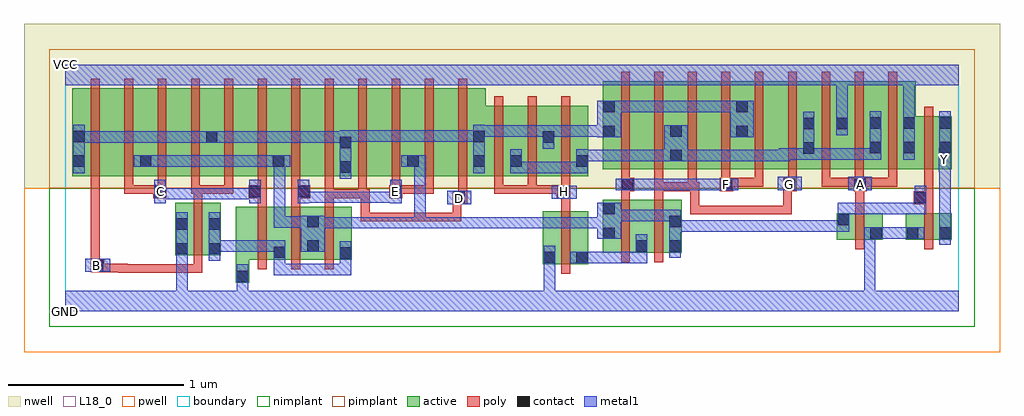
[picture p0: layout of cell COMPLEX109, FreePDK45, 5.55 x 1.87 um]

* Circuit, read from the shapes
.subckt COMPLEX109 A B C D E F G GND H VCC Y
M1 n1 B GND VSUBS nfet w=0.3u l=0.05u
M2 n1 C GND VSUBS nfet w=0.3u l=0.05u
M3 n2 E n1 VSUBS nfet w=0.3u l=0.05u
M4 n1 D n2 VSUBS nfet w=0.3u l=0.05u
M5 n3 H GND VSUBS nfet w=0.3u l=0.05u
M6 n3 F n2 VSUBS nfet w=0.3u l=0.05u
M7 n2 G n3 VSUBS nfet w=0.3u l=0.05u
M8 GND A n2 VSUBS nfet w=0.15u l=0.05u
M9 Y n2 GND VSUBS nfet w=0.15u l=0.05u
M10 n4 B n5 n6 pfet w=0.5u l=0.05u
M11 n2 C n4 n6 pfet w=0.5u l=0.05u
M12 n7 C n2 n6 pfet w=0.5u l=0.05u
M13 n5 B n7 n6 pfet w=0.5u l=0.05u
M14 n8 B n5 n6 pfet w=0.5u l=0.05u
M15 n2 C n8 n6 pfet w=0.5u l=0.05u
M16 n9 E n2 n6 pfet w=0.5u l=0.05u
M17 n5 D n9 n6 pfet w=0.5u l=0.05u
M18 n10 D n5 n6 pfet w=0.5u l=0.05u
M19 n2 E n10 n6 pfet w=0.5u l=0.05u
M20 n11 E n2 n6 pfet w=0.5u l=0.05u
M21 n5 D n11 n6 pfet w=0.5u l=0.05u
M22 n12 H n5 n6 pfet w=0.4u l=0.05u m=3
M23 n13 F n5 n6 pfet w=0.5u l=0.05u
M24 n12 G n13 n6 pfet w=0.5u l=0.05u
M25 n14 G n12 n6 pfet w=0.5u l=0.05u
M26 n5 F n14 n6 pfet w=0.5u l=0.05u
M27 n15 F n5 n6 pfet w=0.5u l=0.05u
M28 n12 G n15 n6 pfet w=0.5u l=0.05u
M29 VCC A n12 n6 pfet w=0.5u l=0.05u m=3
M30 Y n2 VCC n6 pfet w=0.3u l=0.05u
.ends

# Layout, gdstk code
import gdstk
lib = gdstk.Library(unit=1e-6, precision=1e-09)
def R(c, l, rs):  # rectangles x0, y0, x1, y1
    for r in rs: c.add(gdstk.rectangle(r[:2], r[2:], *l))
def A(c, l, x, y, w, h, nx, ny, dx, dy):  # array of equal rectangles
    R(c, l, [(x+i*dx, y+j*dy, x+i*dx+w, y+j*dy+h) for i in range(nx) for j in range(ny)])
active = (1, 0)
pwell = (2, 0)
nwell = (3, 0)
nimplant = (4, 0)
pimplant = (5, 0)
poly = (9, 0)
contact = (10, 0)
metal1 = (11, 0)
L18_0 = (18, 0)
boundary = (235, 0)

complex109 = lib.new_cell('COMPLEX109')
A(complex109, active, 0.645, 0.767, 0.225, 0.5, 3, 1, 0.38, 0)
A(complex109, active, 0.795, 0.767, 0.23, 0.5, 3, 1, 0.38, 0)
A(complex109, active, 3.81, 0.807, 0.075, 0.393, 3, 1, 0.38, 0)
A(complex109, active, 4.19, 0.807, 0.265, 0.5, 3, 1, 0.19, 0)
R(complex109, active, [(0.97,0.16,1.045,0.592), (2.715,0.267,2.79,0.567), (2.715,0.267,2.975,0.567), (2.9,0.267,2.975,0.567), (0.97,0.292,1.255,0.592), (1.18,0.292,1.445,0.592), (1.18,0.292,1.255,0.497), (1.37,0.292,1.63,0.592), (1.555,0.292,1.63,0.592), (0.625,0.317,0.7,0.617), (0.625,0.317,0.885,0.617), (0.81,0.317,0.885,0.617), (1.37,0.33,1.445,0.547), (3.055,0.332,3.13,0.632), (3.055,0.332,3.315,0.632), (3.24,0.332,3.505,0.632), (3.24,0.332,3.315,0.497), (3.43,0.332,3.505,0.632), (4.387,0.407,4.462,0.557), (4.387,0.407,4.647,0.557), (4.572,0.407,4.647,0.557), (4.78,0.407,4.855,0.557), (4.78,0.407,5.04,0.557), (4.965,0.407,5.04,0.557), (0.04,0.767,0.265,1.267), (0.04,0.767,0.145,1.2), (0.265,0.767,0.495,1.267), (0.42,0.767,0.645,1.267), (0.42,0.767,0.495,1.07), (0.795,0.767,0.87,1.2), (1.175,0.767,1.25,1.07), (1.555,0.767,1.63,1.2), (1.785,0.767,2.015,1.267), (1.94,0.767,2.165,1.267), (1.94,0.767,2.015,1.07), (2.165,0.767,2.39,1.267), (2.315,0.767,2.6,1.167), (2.525,0.767,2.6,1.07), (2.525,0.767,2.785,1.167), (2.71,0.767,2.975,1.167), (2.71,0.767,2.785,1.155), (2.9,0.767,2.975,1.07), (3.055,0.807,3.28,1.307), (3.055,0.807,3.16,1.2), (3.28,0.807,3.51,1.307), (3.435,0.807,3.66,1.307), (3.435,0.807,3.51,1.07), (3.66,0.807,3.885,1.307), (3.81,0.807,4.04,1.307), (4.04,0.807,4.265,1.307), (4.38,0.807,4.455,1.307), (4.76,0.807,4.835,1.107), (4.76,0.807,5.04,1.107), (4.965,0.807,5.04,1.107), (2.315,0.815,2.39,1.2)])
R(complex109, pwell, [(-0.235,-0.235,5.315,0.7)])
R(complex109, nwell, [(-0.235,0.7,5.315,1.635)])
R(complex109, nimplant, [(-0.09,-0.09,5.17,0.7)])
R(complex109, pimplant, [(-0.09,0.7,5.17,1.49)])
A(complex109, poly, 1.095, 0.237, 0.05, 0.41, 3, 1, 0.19, 0)
A(complex109, poly, 1.095, 0.597, 0.05, 0.095, 3, 1, 0.19, 0)
A(complex109, poly, 0.335, 0.667, 0.05, 0.095, 6, 1, 0.19, 0)
A(complex109, poly, 2.44, 0.667, 0.05, 0.095, 3, 1, 0.19, 0)
A(complex109, poly, 3.73, 0.707, 0.05, 0.095, 6, 1, 0.19, 0)
A(complex109, poly, 0.145, 0.712, 0.05, 0.61, 12, 1, 0.19, 0)
A(complex109, poly, 2.44, 0.712, 0.05, 0.51, 3, 1, 0.19, 0)
A(complex109, poly, 3.16, 0.752, 0.05, 0.61, 9, 1, 0.19, 0)
R(complex109, poly, [(2.82,0.212,2.87,0.622), (0.302,0.217,0.632,0.267), (0.302,0.217,0.352,0.27), (0.582,0.217,0.632,0.267), (0.582,0.217,0.78,0.267), (0.73,0.217,0.78,0.312), (0.73,0.217,0.78,0.267), (0.73,0.217,0.78,0.267), (0.73,0.217,0.78,0.267), (0.145,0.22,0.22,0.295), (0.17,0.22,0.22,0.27), (0.17,0.22,0.22,0.27), (0.17,0.22,0.22,0.27), (0.17,0.22,0.22,0.27), (0.17,0.22,0.22,0.27), (0.17,0.22,0.22,0.27), (0.17,0.22,0.22,0.27), (0.17,0.22,0.22,0.27), (0.17,0.22,0.22,0.27), (0.17,0.22,0.22,0.27), (0.17,0.22,0.352,0.27), (0.302,0.22,0.352,0.27), (0.302,0.22,0.352,0.27), (0.145,0.245,0.195,0.762), (0.73,0.262,0.78,0.672), (3.16,0.277,3.21,0.687), (3.35,0.277,3.4,0.687), (4.492,0.352,4.542,0.612), (4.885,0.352,4.935,0.612), (1.68,0.51,1.73,0.56), (1.68,0.51,1.73,0.56), (1.68,0.51,1.73,0.56), (1.68,0.51,1.73,0.692), (1.68,0.51,1.917,0.56), (1.867,0.51,1.917,0.56), (1.867,0.51,2.05,0.56), (2,0.51,2.05,0.56), (2,0.51,2.05,0.56), (2,0.51,2.05,0.56), (2,0.51,2.252,0.56), (2.202,0.51,2.252,0.56), (2.202,0.51,2.252,0.56), (2.202,0.51,2.252,0.56), (2.202,0.51,2.252,0.66), (3.555,0.55,3.605,0.6), (3.555,0.55,3.605,0.6), (3.555,0.55,3.605,0.6), (3.555,0.55,3.605,0.6), (3.555,0.55,3.605,0.6), (3.555,0.55,3.605,0.732), (3.555,0.55,3.737,0.6), (3.687,0.55,3.737,0.6), (3.687,0.55,3.737,0.6), (3.687,0.55,3.737,0.6), (3.687,0.55,4,0.6), (3.95,0.55,4,0.6), (3.95,0.55,4.132,0.6), (4.082,0.55,4.132,0.6), (4.082,0.55,4.132,0.6), (4.082,0.55,4.132,0.6), (4.082,0.55,4.132,0.732), (4.492,0.562,4.542,0.732), (4.885,0.562,4.935,0.657), (2.82,0.572,2.87,0.692), (4.825,0.607,4.935,0.682), (2.202,0.61,2.252,0.66), (2.202,0.61,2.252,0.66), (2.202,0.61,2.285,0.685), (0.73,0.622,0.78,0.717), (4.885,0.632,4.935,0.802), (2.235,0.635,2.285,0.762), (3.16,0.637,3.21,0.732), (3.35,0.637,3.4,0.732), (0.5,0.642,0.575,0.717), (1.042,0.642,1.145,0.717), (1.285,0.642,1.392,0.717), (1.475,0.642,1.525,0.692), (1.475,0.642,1.525,0.692), (1.475,0.642,1.525,0.692), (1.475,0.642,1.525,0.762), (1.475,0.642,1.715,0.692), (1.665,0.642,1.715,0.692), (1.665,0.642,1.715,0.692), (1.665,0.642,1.715,0.762), (1.665,0.642,1.73,0.692), (1.842,0.642,1.917,0.717), (2.795,0.642,2.87,0.717), (0.335,0.667,0.385,0.717), (0.335,0.667,0.385,0.717), (0.335,0.667,0.385,0.717), (0.335,0.667,0.55,0.717), (0.715,0.667,0.78,0.717), (0.73,0.667,0.955,0.717), (0.905,0.667,0.955,0.717), (0.905,0.667,0.955,0.717), (0.905,0.667,0.955,0.717), (1.855,0.667,1.905,0.762), (1.867,0.667,1.917,0.717), (1.867,0.667,1.917,0.717), (1.867,0.667,2.095,0.717), (2.045,0.667,2.095,0.762), (2.045,0.667,2.095,0.717), (2.44,0.667,2.49,0.717), (2.44,0.667,2.49,0.717), (2.44,0.667,2.49,0.717), (2.44,0.667,2.68,0.717), (2.63,0.667,2.68,0.717), (2.63,0.667,2.68,0.717), (2.63,0.667,2.68,0.717), (2.63,0.667,2.845,0.717), (3.16,0.682,3.235,0.757), (3.35,0.682,3.4,0.732), (3.35,0.682,3.4,0.732), (3.35,0.682,3.4,0.732), (3.35,0.682,3.4,0.802), (3.35,0.682,3.59,0.732), (3.54,0.682,3.59,0.802), (3.54,0.682,3.605,0.732), (3.722,0.682,3.797,0.757), (4.082,0.682,4.132,0.732), (4.082,0.682,4.132,0.732), (4.082,0.682,4.16,0.757), (4.482,0.682,4.557,0.757), (3.16,0.707,3.21,0.802), (3.747,0.707,3.797,0.757), (3.747,0.707,3.797,0.757), (3.747,0.707,3.97,0.757), (3.92,0.707,3.97,0.757), (4.3,0.707,4.35,0.757), (4.3,0.707,4.532,0.757), (4.482,0.707,4.532,0.757), (4.482,0.707,4.532,0.757), (4.507,0.707,4.73,0.757), (4.68,0.707,4.73,0.757), (4.68,0.707,4.73,0.757), (4.68,0.707,4.73,0.757), (4.885,0.752,4.935,1.162)])
R(complex109, contact, [(0.975,0.165,1.04,0.23), (0.15,0.225,0.215,0.29), (2.72,0.272,2.785,0.337), (2.905,0.272,2.97,0.337), (1.56,0.297,1.625,0.362), (1.185,0.302,1.25,0.367), (0.63,0.322,0.695,0.387), (0.815,0.322,0.88,0.387), (1.375,0.337,1.44,0.402), (3.245,0.337,3.31,0.402), (3.435,0.337,3.5,0.402), (3.06,0.41,3.125,0.475), (4.577,0.412,4.642,0.477), (4.785,0.412,4.85,0.477), (4.97,0.412,5.035,0.477), (0.63,0.462,0.695,0.527), (0.815,0.462,0.88,0.527), (1.375,0.477,1.44,0.542), (3.435,0.477,3.5,0.542), (4.392,0.487,4.457,0.552), (3.06,0.55,3.125,0.615), (4.83,0.612,4.895,0.677), (2.207,0.615,2.272,0.68), (0.505,0.647,0.57,0.712), (1.047,0.647,1.112,0.712), (1.322,0.647,1.387,0.712), (1.847,0.647,1.912,0.712), (2.8,0.647,2.865,0.712), (3.165,0.687,3.23,0.752), (3.727,0.687,3.792,0.752), (4.087,0.687,4.152,0.752), (4.487,0.687,4.552,0.752), (1.56,0.787,1.625,0.852), (0.045,0.82,0.11,0.885), (0.425,0.82,0.49,0.885), (1.18,0.82,1.245,0.885), (1.945,0.82,2.01,0.885), (2.32,0.82,2.385,0.885), (2.53,0.82,2.595,0.885), (2.905,0.82,2.97,0.885), (3.44,0.852,3.505,0.917), (4.195,0.895,4.26,0.96), (4.575,0.897,4.64,0.962), (4.765,0.897,4.83,0.962), (4.97,0.897,5.035,0.962), (1.56,0.927,1.625,0.992), (0.8,0.957,0.865,1.022), (2.715,0.957,2.78,1.022), (0.045,0.96,0.11,1.025), (2.32,0.96,2.385,1.025), (3.06,0.99,3.125,1.055), (3.815,0.99,3.88,1.055), (3.44,0.992,3.505,1.057), (4.195,1.035,4.26,1.1), (4.385,1.035,4.45,1.1), (4.575,1.037,4.64,1.102), (4.765,1.037,4.83,1.102), (4.97,1.037,5.035,1.102), (3.06,1.13,3.125,1.195), (3.815,1.13,3.88,1.195)])
R(complex109, metal1, [(0,0,5.08,0.115), (0.63,0.05,0.695,0.115), (0.63,0.05,0.695,0.115), (0.63,0.05,0.695,0.115), (0.63,0.05,0.695,0.115), (0.63,0.05,0.695,0.352), (0.975,0.05,1.04,0.115), (0.975,0.05,1.04,0.115), (0.975,0.05,1.04,0.195), (2.72,0.05,2.785,0.115), (2.72,0.05,2.785,0.115), (2.72,0.05,2.785,0.115), (2.72,0.05,2.785,0.115), (2.72,0.05,2.785,0.302), (4.542,0.05,4.607,0.115), (4.542,0.05,4.607,0.115), (4.542,0.05,4.607,0.477), (0.975,0.13,1.04,0.195), (0.975,0.13,1.04,0.195), (0.975,0.13,1.04,0.265), (1.185,0.205,1.487,0.27), (1.185,0.205,1.25,0.332), (1.422,0.205,1.487,0.27), (1.422,0.205,1.625,0.27), (1.56,0.205,1.625,0.327), (0.112,0.225,0.255,0.297), (2.72,0.237,2.785,0.372), (1.56,0.262,1.625,0.327), (1.56,0.262,1.625,0.397), (1.185,0.267,1.25,0.332), (1.185,0.267,1.25,0.402), (2.87,0.272,3.005,0.337), (2.94,0.272,3.005,0.337), (2.94,0.272,3.005,0.337), (2.94,0.272,3.142,0.337), (3.077,0.272,3.142,0.337), (3.077,0.272,3.31,0.337), (3.245,0.272,3.31,0.437), (0.63,0.287,0.695,0.562), (0.815,0.287,0.88,0.562), (3.435,0.302,3.5,0.577), (0.815,0.337,0.88,0.402), (0.815,0.337,0.88,0.402), (0.815,0.337,1.04,0.402), (0.975,0.337,1.04,0.402), (0.975,0.337,1.112,0.402), (1.047,0.337,1.112,0.402), (1.047,0.337,1.25,0.402), (1.34,0.337,1.475,0.542), (4.97,0.377,5.035,0.512), (3.025,0.41,3.16,0.615), (4.542,0.412,4.607,0.477), (4.542,0.412,4.607,0.477), (4.542,0.412,4.607,0.477), (4.542,0.412,4.607,0.477), (4.542,0.412,4.677,0.477), (4.612,0.412,4.677,0.477), (4.612,0.412,4.677,0.477), (4.612,0.412,4.815,0.477), (4.75,0.412,4.885,0.477), (4.97,0.447,5.035,0.857), (3.435,0.452,3.54,0.517), (3.475,0.452,3.54,0.517), (3.475,0.452,3.677,0.517), (3.612,0.452,3.677,0.517), (3.612,0.452,3.677,0.517), (3.612,0.452,3.677,0.517), (3.612,0.452,3.845,0.517), (3.78,0.452,3.845,0.517), (3.78,0.452,3.845,0.517), (3.78,0.452,3.845,0.517), (3.78,0.452,4.122,0.517), (4.057,0.452,4.122,0.517), (4.057,0.452,4.122,0.517), (4.057,0.452,4.122,0.517), (4.057,0.452,4.26,0.517), (4.195,0.452,4.26,0.517), (4.195,0.452,4.26,0.517), (4.195,0.452,4.26,0.517), (4.195,0.452,4.457,0.517), (4.392,0.452,4.457,0.587), (1.41,0.47,1.625,0.535), (1.56,0.47,1.625,0.535), (1.56,0.47,1.625,0.535), (1.56,0.47,1.625,0.535), (1.56,0.47,1.762,0.535), (1.697,0.47,1.762,0.535), (1.697,0.47,1.762,0.535), (1.697,0.47,1.762,0.535), (1.697,0.47,1.912,0.535), (1.847,0.47,1.912,0.535), (1.847,0.47,2.05,0.535), (1.985,0.47,2.05,0.535), (1.985,0.47,2.05,0.535), (1.985,0.47,2.05,0.535), (1.985,0.47,2.247,0.535), (1.985,0.47,2.05,0.885), (2.182,0.47,2.247,0.535), (2.182,0.47,2.247,0.535), (2.182,0.47,2.247,0.535), (2.182,0.47,2.385,0.535), (2.32,0.47,2.385,0.535), (2.32,0.47,2.385,0.535), (2.32,0.47,2.385,0.535), (2.32,0.47,2.642,0.535), (2.577,0.47,2.642,0.535), (2.577,0.47,2.642,0.535), (2.577,0.47,2.642,0.535), (2.577,0.47,2.78,0.535), (2.715,0.47,2.78,0.535), (2.715,0.47,2.78,0.535), (2.715,0.47,2.78,0.535), (2.715,0.47,2.922,0.535), (2.857,0.47,2.922,0.535), (2.857,0.47,3.09,0.535), (1.185,0.475,1.25,0.54), (1.185,0.475,1.25,0.54), (1.185,0.475,1.25,0.54), (1.185,0.475,1.25,0.885), (1.185,0.475,1.405,0.54), (1.34,0.475,1.405,0.54), (1.34,0.475,1.405,0.54), (3.095,0.512,3.16,0.577), (3.095,0.512,3.16,0.577), (3.095,0.512,3.332,0.577), (3.267,0.512,3.332,0.577), (3.267,0.512,3.402,0.577), (3.337,0.512,3.402,0.577), (3.337,0.512,3.5,0.577), (4.392,0.522,4.457,0.587), (4.392,0.522,4.457,0.615), (4.392,0.55,4.677,0.615), (4.612,0.55,4.677,0.615), (4.612,0.55,4.677,0.615), (4.612,0.55,4.677,0.615), (4.612,0.55,4.895,0.615), (4.83,0.55,4.895,0.615), (4.83,0.55,4.895,0.642), (4.83,0.577,4.895,0.642), (4.83,0.577,4.895,0.642), (4.83,0.577,4.895,0.712), (2.172,0.607,2.307,0.685), (0.505,0.612,0.572,0.747), (1.047,0.612,1.112,0.747), (1.322,0.612,1.387,0.747), (1.847,0.612,1.912,0.747), (1.322,0.615,1.387,0.68), (1.322,0.615,1.387,0.68), (1.322,0.615,1.625,0.68), (1.56,0.615,1.625,0.68), (1.56,0.615,1.625,0.68), (1.56,0.615,1.625,0.68), (1.56,0.615,1.762,0.68), (1.697,0.615,1.762,0.68), (1.697,0.615,1.762,0.68), (1.697,0.615,1.762,0.68), (1.697,0.615,1.912,0.68), (0.507,0.635,0.692,0.7), (0.627,0.635,0.692,0.7), (0.627,0.635,0.742,0.7), (0.677,0.635,0.742,0.7), (0.677,0.635,0.902,0.7), (0.837,0.635,0.902,0.7), (0.837,0.635,0.902,0.7), (0.837,0.635,0.902,0.7), (0.837,0.635,1.04,0.7), (0.975,0.635,1.04,0.7), (0.975,0.635,1.112,0.7), (2.765,0.64,2.907,0.712), (3.13,0.687,3.265,0.752), (3.2,0.687,3.332,0.752), (3.267,0.687,3.332,0.752), (3.267,0.687,3.402,0.752), (3.337,0.687,3.402,0.752), (3.337,0.687,3.54,0.752), (3.475,0.687,3.54,0.752), (3.475,0.687,3.54,0.752), (3.475,0.687,3.54,0.752), (3.475,0.687,3.677,0.752), (3.612,0.687,3.677,0.752), (3.612,0.687,3.757,0.752), (3.692,0.687,3.827,0.752), (4.052,0.687,4.187,0.765), (4.452,0.687,4.587,0.765), (1.56,0.752,1.625,1.027), (0.045,0.785,0.11,1.06), (2.32,0.785,2.385,1.06), (2.53,0.785,2.595,0.85), (2.53,0.785,2.595,0.85), (2.53,0.785,2.595,0.92), (2.53,0.785,2.78,0.85), (2.715,0.785,2.78,0.85), (2.715,0.785,2.78,0.85), (2.715,0.785,2.78,0.85), (2.715,0.785,2.97,0.85), (2.905,0.785,2.97,0.92), (4.967,0.792,5.035,0.927), (0.39,0.82,0.525,0.885), (0.46,0.82,0.525,0.885), (0.46,0.82,0.525,0.885), (0.46,0.82,0.692,0.885), (0.627,0.82,0.692,0.885), (0.627,0.82,0.742,0.885), (0.677,0.82,0.742,0.885), (0.677,0.82,0.88,0.885), (0.815,0.82,0.88,0.885), (0.815,0.82,0.88,0.885), (0.815,0.82,0.88,0.885), (0.815,0.82,1.04,0.885), (0.975,0.82,1.04,0.885), (0.975,0.82,1.04,0.885), (0.975,0.82,1.04,0.885), (0.975,0.82,1.21,0.885), (1.145,0.82,1.28,0.885), (1.91,0.82,2.05,0.885), (1.985,0.82,2.05,0.885), (1.985,0.82,2.05,0.885), (2.905,0.852,2.97,0.917), (2.905,0.852,2.97,0.917), (2.905,0.852,3.265,0.917), (3.2,0.852,3.265,0.917), (3.2,0.852,3.297,0.917), (3.232,0.852,3.297,0.917), (3.232,0.852,3.402,0.917), (3.337,0.852,3.402,0.917), (3.337,0.852,3.47,0.917), (3.405,0.852,3.54,1.057), (3.475,0.852,3.54,0.917), (3.475,0.852,3.54,0.917), (3.475,0.852,3.707,0.917), (3.642,0.852,3.707,0.917), (3.642,0.852,3.707,0.917), (3.642,0.852,3.707,0.917), (3.642,0.852,3.98,0.917), (3.915,0.852,3.98,0.917), (3.915,0.852,3.98,0.917), (3.915,0.852,3.98,0.917), (3.915,0.852,4.122,0.917), (4.057,0.852,4.122,0.917), (4.057,0.852,4.122,0.917), (4.057,0.852,4.122,0.925), (4.057,0.86,4.26,0.925), (4.195,0.86,4.26,1.135), (4.195,0.862,4.26,0.927), (4.195,0.862,4.26,0.927), (4.195,0.862,4.397,0.927), (4.332,0.862,4.397,0.927), (4.332,0.862,4.397,0.927), (4.332,0.862,4.397,0.927), (4.332,0.862,4.64,0.927), (4.575,0.862,4.64,1.137), (4.765,0.862,4.83,1.137), (4.97,0.862,5.035,0.927), (4.97,0.862,5.035,1.137), (2.715,0.922,2.78,1.057), (0.045,0.957,0.11,1.022), (0.045,0.957,0.11,1.022), (0.045,0.957,0.247,1.022), (0.182,0.957,0.247,1.022), (0.182,0.957,0.247,1.022), (0.182,0.957,0.247,1.022), (0.182,0.957,0.392,1.022), (0.327,0.957,0.392,1.022), (0.327,0.957,0.392,1.022), (0.327,0.957,0.392,1.022), (0.327,0.957,0.692,1.022), (0.627,0.957,0.692,1.022), (0.627,0.957,0.71,1.022), (0.645,0.957,0.71,1.022), (0.645,0.957,0.83,1.022), (0.765,0.957,0.9,1.022), (0.835,0.957,0.9,1.022), (0.835,0.957,0.9,1.022), (0.835,0.957,1.04,1.022), (0.975,0.957,1.04,1.022), (0.975,0.957,1.04,1.022), (0.975,0.957,1.04,1.022), (0.975,0.957,1.177,1.022), (1.112,0.957,1.177,1.022), (1.112,0.957,1.487,1.022), (1.422,0.957,1.487,1.022), (1.422,0.957,1.487,1.022), (1.422,0.957,1.487,1.022), (1.422,0.957,1.625,1.022), (1.56,0.957,1.625,1.022), (1.56,0.957,1.625,1.022), (1.56,0.962,1.762,1.027), (1.697,0.962,1.762,1.027), (1.697,0.962,1.762,1.027), (1.697,0.962,1.762,1.027), (1.697,0.962,1.9,1.027), (1.835,0.962,1.9,1.027), (1.835,0.962,1.9,1.027), (1.835,0.962,1.9,1.027), (1.835,0.962,2.05,1.027), (1.985,0.962,2.05,1.027), (1.985,0.962,2.247,1.027), (2.182,0.962,2.247,1.027), (2.182,0.962,2.247,1.027), (2.182,0.962,2.247,1.027), (2.182,0.962,2.385,1.027), (3.025,0.99,3.16,1.195), (3.78,0.99,3.915,1.195), (2.32,0.992,2.385,1.057), (2.32,0.992,2.385,1.057), (2.32,0.992,2.642,1.057), (2.577,0.992,2.642,1.057), (2.577,0.992,2.642,1.057), (2.577,0.992,2.642,1.057), (2.577,0.992,2.78,1.057), (2.715,0.992,2.78,1.057), (2.715,0.992,2.78,1.057), (2.715,0.992,2.917,1.057), (2.852,0.992,2.917,1.057), (2.852,0.992,3.09,1.057), (4.385,1,4.45,1.135), (4.385,1.07,4.45,1.35), (4.765,1.072,4.83,1.35), (3.095,1.13,3.16,1.195), (3.095,1.13,3.16,1.195), (3.095,1.13,3.332,1.195), (3.267,1.13,3.332,1.195), (3.267,1.13,3.402,1.195), (3.337,1.13,3.402,1.195), (3.337,1.13,3.54,1.195), (3.475,1.13,3.54,1.195), (3.475,1.13,3.54,1.195), (3.475,1.13,3.54,1.195), (3.475,1.13,3.677,1.195), (3.612,1.13,3.677,1.195), (3.612,1.13,3.677,1.195), (3.612,1.13,3.677,1.195), (3.612,1.13,3.845,1.195), (0,1.285,5.08,1.4)])
R(complex109, L18_0, [(0,0,5.08,0.115), (0.63,0.05,0.695,0.115), (0.63,0.05,0.695,0.115), (0.63,0.05,0.695,0.115), (0.63,0.05,0.695,0.115), (0.63,0.05,0.695,0.352), (0.975,0.05,1.04,0.115), (0.975,0.05,1.04,0.115), (0.975,0.05,1.04,0.195), (2.72,0.05,2.785,0.115), (2.72,0.05,2.785,0.115), (2.72,0.05,2.785,0.115), (2.72,0.05,2.785,0.115), (2.72,0.05,2.785,0.302), (4.542,0.05,4.607,0.115), (4.542,0.05,4.607,0.115), (4.542,0.05,4.607,0.477), (0.975,0.13,1.04,0.195), (0.975,0.13,1.04,0.195), (0.975,0.13,1.04,0.265), (0.112,0.225,0.255,0.297), (0.147,0.227,0.212,0.292), (2.72,0.237,2.785,0.372), (0.63,0.287,0.695,0.562), (4.97,0.377,5.035,0.512), (4.542,0.412,4.607,0.477), (4.542,0.412,4.607,0.477), (4.542,0.412,4.607,0.477), (4.542,0.412,4.607,0.477), (4.542,0.412,4.677,0.477), (4.612,0.412,4.677,0.477), (4.612,0.412,4.677,0.477), (4.612,0.412,4.815,0.477), (4.75,0.412,4.885,0.477), (4.97,0.447,5.035,0.857), (2.172,0.607,2.307,0.685), (2.207,0.607,2.272,0.672), (0.505,0.612,0.572,0.747), (1.047,0.612,1.112,0.747), (1.322,0.612,1.387,0.747), (1.847,0.612,1.912,0.747), (1.322,0.615,1.387,0.68), (1.322,0.615,1.387,0.68), (1.322,0.615,1.625,0.68), (1.56,0.615,1.625,0.68), (1.56,0.615,1.625,0.68), (1.56,0.615,1.625,0.68), (1.56,0.615,1.762,0.68), (1.697,0.615,1.762,0.68), (1.697,0.615,1.762,0.68), (1.697,0.615,1.762,0.68), (1.697,0.615,1.912,0.68), (0.507,0.635,0.692,0.7), (0.627,0.635,0.692,0.7), (0.627,0.635,0.742,0.7), (0.677,0.635,0.742,0.7), (0.677,0.635,0.902,0.7), (0.837,0.635,0.902,0.7), (0.837,0.635,0.902,0.7), (0.837,0.635,0.902,0.7), (0.837,0.635,1.04,0.7), (0.975,0.635,1.04,0.7), (0.975,0.635,1.112,0.7), (2.765,0.64,2.907,0.712), (0.507,0.647,0.572,0.712), (1.847,0.647,1.912,0.712), (2.807,0.647,2.872,0.712), (3.13,0.687,3.265,0.752), (3.2,0.687,3.332,0.752), (3.267,0.687,3.332,0.752), (3.267,0.687,3.402,0.752), (3.337,0.687,3.402,0.752), (3.337,0.687,3.54,0.752), (3.475,0.687,3.54,0.752), (3.475,0.687,3.54,0.752), (3.475,0.687,3.54,0.752), (3.475,0.687,3.677,0.752), (3.612,0.687,3.677,0.752), (3.612,0.687,3.757,0.752), (3.692,0.687,3.827,0.752), (3.727,0.687,3.792,0.752), (4.052,0.687,4.187,0.765), (4.087,0.687,4.152,0.752), (4.452,0.687,4.587,0.765), (4.487,0.687,4.552,0.752), (4.967,0.792,5.035,0.927), (4.967,0.827,5.032,0.892), (4.765,0.862,4.83,1.137), (4.97,0.862,5.035,0.927), (4.97,0.862,5.035,1.137), (4.385,1,4.45,1.135), (4.385,1.07,4.45,1.35), (4.765,1.072,4.83,1.35), (0,1.285,5.08,1.4)])
R(complex109, boundary, [(0,0,5.08,1.4)])
complex109.add(gdstk.Label('A', (4.52,0.72), layer=11, texttype=0))
complex109.add(gdstk.Label('B', (0.18,0.26), layer=11, texttype=0))
complex109.add(gdstk.Label('C', (0.54,0.68), layer=11, texttype=0))
complex109.add(gdstk.Label('D', (2.24,0.64), layer=11, texttype=0))
complex109.add(gdstk.Label('E', (1.88,0.68), layer=11, texttype=0))
complex109.add(gdstk.Label('F', (3.76,0.72), layer=11, texttype=0))
complex109.add(gdstk.Label('G', (4.12,0.72), layer=11, texttype=0))
complex109.add(gdstk.Label('H', (2.84,0.68), layer=11, texttype=0))
complex109.add(gdstk.Label('Y', (5,0.86), layer=11, texttype=0))
complex109.add(gdstk.Label('VCC', (0,1.4), layer=11, texttype=0))
complex109.add(gdstk.Label('GND', (0,0), layer=11, texttype=0))

lib.write_gds('COMPLEX109.gds')
